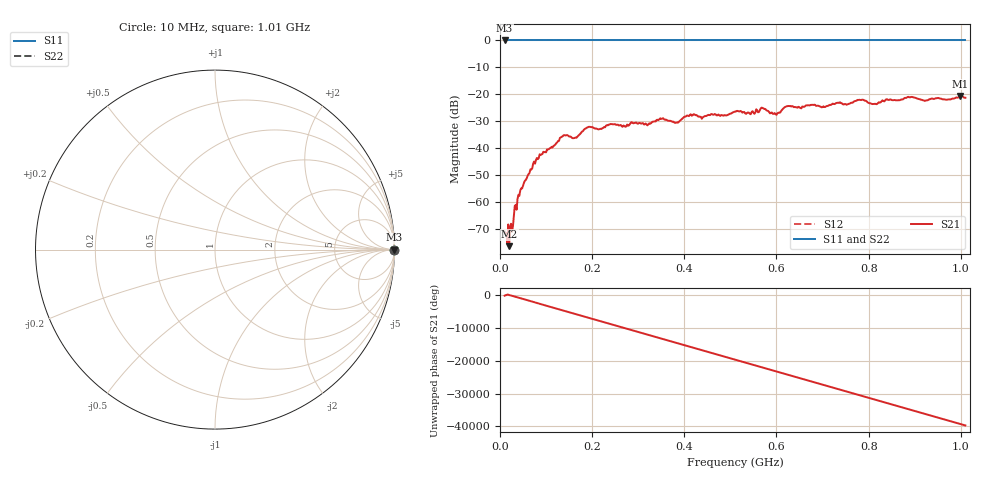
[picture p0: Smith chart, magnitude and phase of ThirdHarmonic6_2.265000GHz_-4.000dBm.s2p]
! 8/17/2025 2:49:20 AM
! C:\ANRITSUVNA\TEMP\TEMP.S2P
! CHANNEL.1
! TR.MEASUREMENT
! RAW.DATA
! RF.CORRECTION.OFF
! AVERAGING.OFF
! IF.BANDWIDTH: 5KHZ
! SWEEPTYPE:  FREQ.SWEEP(Linear)
! Reference Plane Port Info
! PORT:  PORT1  PORT2
! DISTANCE:  0  m  0  m
! TIME:  0  s  0  s
! PHASE.OFFSET:  0  deg.  0  deg.
! LOSS:  0  dB  0  dB
! REF.LOSS:  0  dB  0  dB
! REF.FREQ:  0  Hz  0  Hz
! Power Info
! POWER:  -20  dBm  -20  dBm
! EFF.POWER:  -20  dBm  -20  dBm
! SOURCE.ATTEN:  0  dB  0  dB
! TEST.ATTEN:  0  dB  0  dB
# GHZ S RI R 50.0
! FREQ.GHZ  S11RE  S11IM  S21RE  S21IM  S12RE  S12IM  S22RE  S22IM
!; PortSelection: Port_12
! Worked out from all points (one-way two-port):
!   501 points, 10 MHz to 1.01 GHz, reference 50 ohm
!   highest |S21| = -20.60 dB at 998 MHz (marker M1); lowest = -76.2 dB at 20 MHz (marker M2)
!   lowest |S11| = 0.0 dB at 10 MHz (marker M3)
!   |S11| at or under -10 dB: nowhere
!   |S22| runs from 0.0 to 0.0 dB; largest |S21 - S12| = 1.1
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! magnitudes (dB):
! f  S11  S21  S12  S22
! 10 MHz  0.0  -70.9  0.0  0.0
! 20 MHz  0.0  -76.2  0.0  0.0
! 24 MHz  0.0  -67.9  0.0  0.0
! 42 MHz  0.0  -57.6  0.0  0.0
! 76 MHz  0.0  -45.7  0.0  0.0
! 134 MHz  0.0  -35.7  0.0  0.0
! 162 MHz  0.0  -36.2  0.0  0.0
! 178 MHz  0.0  -33.8  0.0  0.0
! 192 MHz  0.0  -32.0  0.0  0.0
! 322 MHz  0.0  -31.1  0.0  0.0
! 344 MHz  0.0  -29.5  0.0  0.0
! 382 MHz  0.0  -30.5  0.0  0.0
! 410 MHz  0.0  -28.0  0.0  0.0
! 510 MHz  0.0  -26.4  0.0  0.0
! 570 MHz  0.0  -25.1  0.0  0.0
! 596 MHz  0.0  -26.9  0.0  0.0
! 622 MHz  0.0  -24.4  0.0  0.0
! 678 MHz  0.0  -23.9  0.0  0.0
! 814 MHz  0.0  -23.5  0.0  0.0
! 844 MHz  0.0  -22.1  0.0  0.0
! 998 MHz  0.0  -20.6  0.0  0.0
! 1.01 GHz  0.0  -21.2  0.0  0.0
